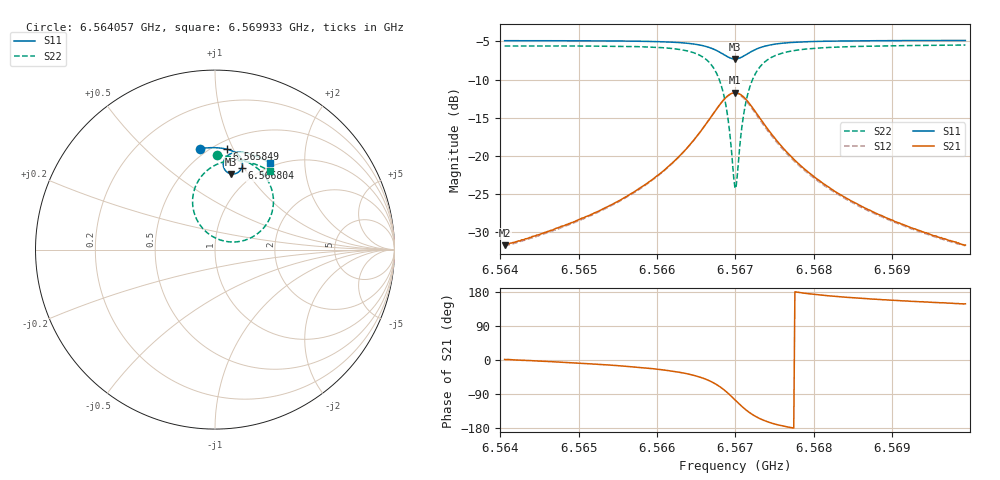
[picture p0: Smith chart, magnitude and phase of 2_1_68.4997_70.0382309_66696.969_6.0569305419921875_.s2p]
#  HZ  S  RI  R  50.00
! Rohde & Schwarz Vector Network Analyzer
! Rohde-Schwarz,ZNB20-2Port,1311601062101988,3.16
! Created: UTC 3/20/2024, 5:03:48 PM
! freq[Hz]  re:S11  im:S11  re:S21  im:S21  re:S12  im:S12  re:S22  im:S22
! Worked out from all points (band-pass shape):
!   401 points, 6.564057 GHz to 6.569933 GHz, reference 50 ohm
!   highest |S21| = -11.73 dB at 6.566995 GHz (marker M1); lowest = -31.8 dB at 6.564057 GHz (marker M2)
!   |S21| within 3 dB of the highest: 6.566702 GHz to 6.56729 GHz (588 kHz wide, 0.00895 % of centre)
!   lowest |S11| = -7.3 dB at 6.566995 GHz (marker M3), VSWR 2.52, Z = 40.3 + j41.8 ohm
!   |S11| at or under -10 dB: nowhere
!   |S22| runs from -24.3 to -5.5 dB; largest |S21 - S12| = 0.012
!   S11 on the Smith chart (normalised r, x): 6.564057 GHz: 0.45, +0.75; 6.565849 GHz: 0.58, +0.94; 6.566804 GHz: 0.83, +0.97; 6.569933 GHz: 0.94, +1.35
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6.5640573e9  -0.0858 0.5626  0.0258 0.000655  0.0255 0.000274  0.013 0.5247
6.5650414e9  -0.0064 0.5679  0.0384 -0.00594  0.0376 -0.00649  0.1025 0.5147
6.5658493e9  0.0661 0.5595  0.0603 -0.023  0.0593 -0.0239  0.1979 0.4791
6.5660256e9  0.0836 0.5542  0.0684 -0.0316  0.0672 -0.0324  0.2249 0.4616
6.566334e9  0.1175 0.5377  0.0872 -0.0593  0.0857 -0.0604  0.2801 0.4066
6.5665544e9  0.1423 0.5125  0.1005 -0.1028  0.0985 -0.1047  0.3194 0.3226
6.5667012e9  0.1528 0.4823  0.097 -0.1556  0.0933 -0.1582  0.3208 0.2222
6.5668041e9  0.1481 0.4533  0.0716 -0.2052  0.0653 -0.2078  0.2777 0.1286
6.5668922e9  0.1283 0.43  0.0206 -0.2436  0.0115 -0.2441  0.1857 0.0591
6.5669216e9  0.118 0.4246  -0.00272 -0.2512  -0.0126 -0.2505  0.1436 0.0465
6.5669656e9  0.1005 0.4211  -0.0414 -0.2543  -0.0519 -0.2511  0.0747 0.0436
6.566995e9  0.0881 0.4221  -0.0679 -0.25  -0.0779 -0.2448  0.0287 0.0539
6.5670244e9  0.0766 0.426  -0.0927 -0.2406  -0.102 -0.2338  -0.0138 0.0731
6.5670831e9  0.0578 0.4407  -0.1335 -0.2095  -0.1399 -0.2002  -0.0803 0.1327
6.5671272e9  0.0494 0.4551  -0.1533 -0.1802  -0.1574 -0.1705  -0.1097 0.1861
6.567186e9  0.0457 0.4749  -0.1658 -0.141  -0.167 -0.1315  -0.1246 0.2558
6.5672741e9  0.0514 0.5  -0.1644 -0.0918  -0.163 -0.0841  -0.1127 0.3409
6.5675385e9  0.0909 0.5354  -0.122 -0.0193  -0.1195 -0.0161  -0.0169 0.4605
6.5679791e9  0.1473 0.542  -0.074 0.00787  -0.0722 0.00909  0.0975 0.4962
6.5684198e9  0.1903 0.5342  -0.0508 0.0132  -0.0497 0.0137  0.1664 0.4919
6.5689633e9  0.2351 0.5185  -0.0356 0.0142  -0.0348 0.0145  0.2265 0.4753
6.5699327e9  0.305 0.4827  -0.022 0.0136  -0.0215 0.0138  0.3068 0.4355
